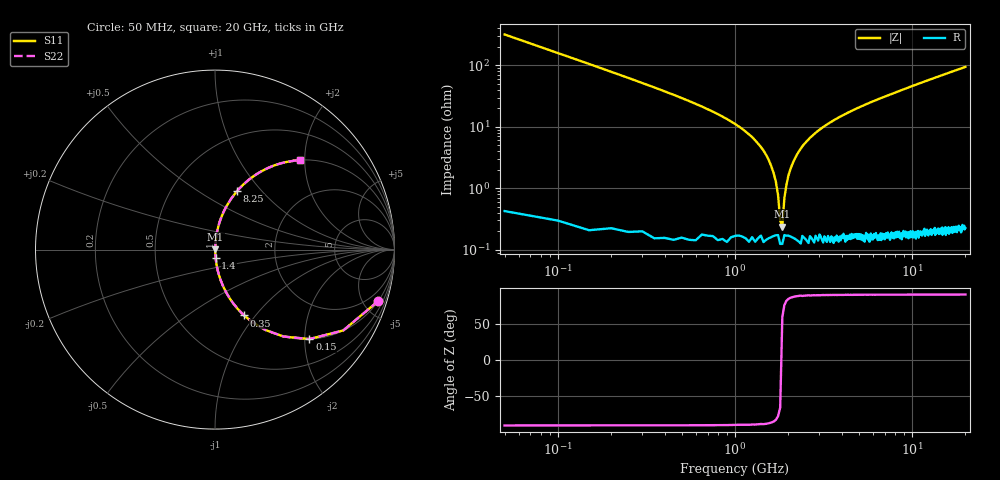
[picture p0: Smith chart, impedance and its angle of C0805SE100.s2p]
! AVX Thin Film Operation		Date: April 2012
! Description: Accu-P® Series, Thin Film, SMD, RF Capacitor
! Part Number: 08051J100FBTTR
!	50	MHz	-	20.05	GHz
!	Serial	Measurements
#	MHZ	S	MA	R	50
!	S11	S21	S12	S22
!	dB	Phase	dB	Phase	dB	Phase	dB	Phase
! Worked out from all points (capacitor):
!   400 points, 50 MHz to 20 GHz, reference 50 ohm
!   read as one part in series: C = 10 pF near 150 MHz
!   lowest |Z| = 239 mohm at 1.85 GHz (marker M1)
!   series resonance near 1.829 GHz, so ESL is about 760 pH
!   S11 on the Smith chart (normalised r, x): 50 MHz: 1.00, -6.36; 150 MHz: 1.00, -2.11; 350 MHz: 1.00, -0.88; 1.4 GHz: 1.00, -0.09; 8.25 GHz: 1.00, +0.75; 20 GHz: 1.00, +1.89
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50  0.954 -17.4  0.3 72.5  0.3 72.5  0.954 -17.4
100  0.845 -32.2  0.533 57.7  0.533 57.7  0.845 -32.2
150  0.725 -43.4  0.688 46.4  0.688 46.4  0.725 -43.4
250  0.529 -57.9  0.847 31.9  0.847 31.9  0.529 -57.9
350  0.401 -66.1  0.915 23.6  0.915 23.6  0.401 -66.1
750  0.174 -79.5  0.983 10.0  0.983 10.0  0.174 -79.5
1400  0.047 -85.5  0.997 2.7  0.997 2.7  0.047 -85.5
1650  0.018 -84.2  0.998 1.0  0.998 1.0  0.018 -84.2
1750  0.007772 -78.5  0.998 0.4  0.998 0.4  0.007772 -78.5
1800  0.00311 -61.1  0.999 0.2  0.999 0.2  0.00311 -61.1
1850  0.002524 53.6  0.999 -0.1  0.999 -0.1  0.002524 53.6
1900  0.006837 77.0  0.998 -0.4  0.998 -0.4  0.006837 77.0
2000  0.016 83.6  0.998 -0.9  0.998 -0.9  0.016 83.6
2200  0.032 85.5  0.998 -1.9  0.998 -1.9  0.032 85.5
2650  0.066 84.9  0.996 -3.8  0.996 -3.8  0.066 84.9
3400  0.114 82.7  0.992 -6.6  0.992 -6.6  0.114 82.7
6700  0.283 73.3  0.958 -16.4  0.958 -16.4  0.283 73.3
8250  0.349 69.3  0.935 -20.4  0.935 -20.4  0.349 69.3
10050  0.419 65.0  0.906 -24.8  0.906 -24.8  0.419 65.0
13350  0.528 57.9  0.847 -31.9  0.847 -31.9  0.528 57.9
16700  0.617 51.8  0.785 -38.1  0.785 -38.1  0.617 51.8
20000  0.686 46.6  0.726 -43.3  0.726 -43.3  0.686 46.6
